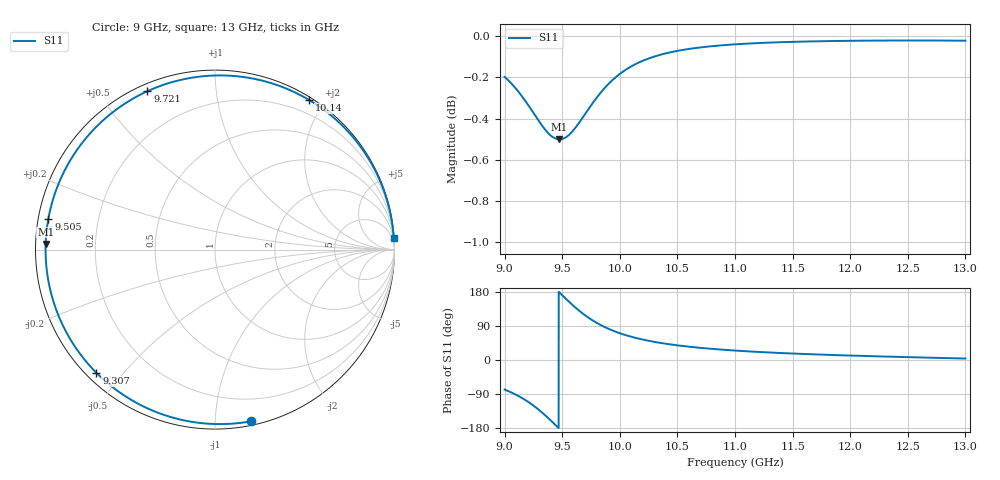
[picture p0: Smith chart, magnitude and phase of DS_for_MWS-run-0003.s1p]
! TOUCHSTONE file generated by CST DESIGN STUDIO
! Date and time: Tue Feb  4 13:38:51 2025
! Project name: C:\Work\MatlabApps\UnitCellOptimizationMatlab\CST\unitcell.cst
! Tree item: Tasks\Sweep1\SPara1\S-Parameters
! Header version: 2024
! Port assignment regex: !\s*Touchstone port\s*([0-9]+)\s*=\s*(CST MWS port|CST DES external port|CST DES block port)\s*(.+)\s* \(\"(.*)\"\)(\s*mode\s*([0-9]+))?.*
! Touchstone port assignment:
! Touchstone port 1 = CST DES external port 1 ("")
# GHz S MA R 50
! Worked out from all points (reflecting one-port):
!   4001 points, 9 GHz to 13 GHz, reference 50 ohm
!   lowest |S11| = -0.5 dB at 9.476 GHz (marker M1), VSWR 34.70, Z = 1.44 + j0.824 ohm
!   phase of S11 starts at -78 deg and turns -278 deg over the sweep
!   S11 on the Smith chart (normalised r, x): 9 GHz: 0.03, -1.23; 9.307 GHz: 0.03, -0.43; 9.505 GHz: 0.03, +0.09; 9.721 GHz: 0.03, +0.66; 10.14 GHz: 0.03, +1.81; 13 GHz: 1, +30
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9  0.9776 -78.0
9.077  0.9727 -88.3
9.174  0.965 -104.5
9.243  0.9587 -118.7
9.307  0.9528 -133.9
9.351  0.9492 -145.5
9.398  0.9461 -158.8
9.438  0.9445 -170.5
9.476  0.944 178.1
9.5  0.9442 170.9
9.505  0.9443 169.4
9.557  0.9463 154.2
9.616  0.9502 138.0
9.668  0.9547 125.0
9.721  0.9595 113.1
9.776  0.9643 102.2
9.838  0.9693 91.6
9.917  0.9747 80.3
10  0.9792 70.7
10.144  0.9848 57.9
10.305  0.9889 47.6
10.5  0.9919 38.7
10.722  0.994 31.4
11  0.9955 24.9
11.5  0.9969 17.1
12  0.9975 11.7
12.5  0.9977 7.5
13  0.9976 3.9
